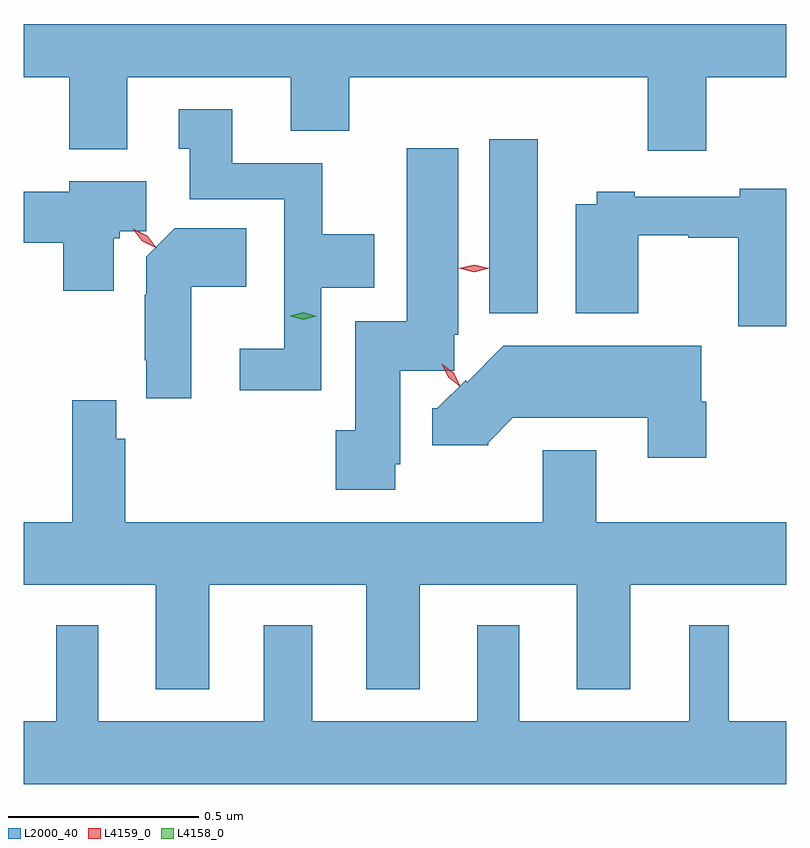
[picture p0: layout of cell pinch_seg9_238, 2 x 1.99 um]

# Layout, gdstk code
import gdstk
lib = gdstk.Library(unit=1e-6, precision=1e-09)
def R(c, l, rs):  # rectangles x0, y0, x1, y1
    for r in rs: c.add(gdstk.rectangle(r[:2], r[2:], *l))
def P(c, l, *ps):  # polygons
    for p in ps: c.add(gdstk.Polygon(p, *l))
L2000_40 = (2000, 40)
L4158_0 = (4158, 0)
L4159_0 = (4159, 0)

pinch_seg9_238 = lib.new_cell('pinch_seg9_238')
R(pinch_seg9_238, L2000_40, [(409.335,1245.084,409.462,1245.541)])
P(pinch_seg9_238, L2000_40, [(409.904,1245.704),(410.114,1245.704),(410.114,1245.843),(408.114,1245.843),(408.114,1245.704),(408.233,1245.704),(408.233,1245.515),(408.385,1245.515),(408.385,1245.704),(408.815,1245.704),(408.815,1245.563),(408.968,1245.563),(408.968,1245.704),(409.751,1245.704),(409.751,1245.51),(409.904,1245.51)],
  [(408.894,1245.152),(409.033,1245.152),(409.033,1245.292),(408.897,1245.292),(408.897,1245.478),(408.661,1245.478),(408.661,1245.619),(408.521,1245.619),(408.521,1245.516),(408.549,1245.516),(408.549,1245.384),(408.798,1245.384),(408.798,1244.992),(408.681,1244.992),(408.681,1244.883),(408.894,1244.883)],
  [(409.089,1244.688),(409.101,1244.688),(409.101,1244.934),(409.243,1244.934),(409.243,1245.028),(409.254,1245.028),(409.254,1245.517),(409.118,1245.517),(409.118,1245.064),(408.983,1245.064),(408.983,1244.778),(408.932,1244.778),(408.932,1244.622),(409.089,1244.622)],
  [(408.35,1245.281),(408.366,1245.281),(408.366,1245.3),(408.435,1245.3),(408.435,1245.43),(408.234,1245.43),(408.234,1245.403),(408.114,1245.403),(408.114,1245.269),(408.218,1245.269),(408.218,1245.144),(408.35,1245.144)],
  [(410.114,1245.411),(409.992,1245.411),(409.992,1245.39),(409.717,1245.39),(409.717,1245.403),(409.617,1245.403),(409.617,1245.37),(409.562,1245.37),(409.562,1245.084),(409.726,1245.084),(409.726,1245.289),(409.857,1245.289),(409.857,1245.282),(409.988,1245.282),(409.988,1245.051),(410.114,1245.051)],
  [(408.554,1245.154),(408.698,1245.154),(408.698,1245.307),(408.51,1245.307),(408.435,1245.232),(408.435,1245.133),(408.432,1245.133),(408.432,1244.961),(408.436,1244.961),(408.436,1244.861),(408.554,1244.861)],
  [(409.904,1244.853),(409.891,1244.853),(409.891,1244.999),(409.371,1244.999),(409.277,1244.904),(409.273,1244.909),(409.199,1244.835),(409.186,1244.835),(409.186,1244.738),(409.332,1244.738),(409.332,1244.745),(409.397,1244.81),(409.751,1244.81),(409.751,1244.706),(409.904,1244.706)],
  [(408.601,1244.372),(409.013,1244.372),(409.013,1244.099),(409.153,1244.099),(409.153,1244.372),(409.565,1244.372),(409.565,1244.099),(409.705,1244.099),(409.705,1244.372),(410.114,1244.372),(410.114,1244.536),(409.615,1244.536),(409.615,1244.725),(409.475,1244.725),(409.475,1244.536),(408.38,1244.536),(408.38,1244.756),(408.357,1244.756),(408.357,1244.856),(408.242,1244.856),(408.242,1244.536),(408.114,1244.536),(408.114,1244.372),(408.461,1244.372),(408.461,1244.099),(408.601,1244.099)],
  [(410.114,1244.014),(409.963,1244.014),(409.963,1244.266),(409.859,1244.266),(409.859,1244.014),(409.414,1244.014),(409.414,1244.266),(409.304,1244.266),(409.304,1244.014),(408.871,1244.014),(408.871,1244.266),(408.743,1244.266),(408.743,1244.014),(408.31,1244.014),(408.31,1244.266),(408.2,1244.266),(408.2,1244.014),(408.114,1244.014),(408.114,1243.85),(410.114,1243.85)])
P(pinch_seg9_238, L4158_0, [(408.847,1245.067),(408.813,1245.077),(408.813,1245.077),(408.813,1245.078),(408.847,1245.087),(408.882,1245.077),(408.882,1245.077),(408.882,1245.076)])
P(pinch_seg9_238, L4159_0, [(409.295,1245.192),(409.255,1245.202),(409.255,1245.202),(409.255,1245.202),(409.295,1245.212),(409.335,1245.202),(409.335,1245.202),(409.335,1245.202)],
  [(409.258,1244.893),(409.227,1244.916),(409.211,1244.952),(409.211,1244.952),(409.211,1244.952),(409.242,1244.929),(409.259,1244.893),(409.259,1244.893)],
  [(408.463,1245.255),(408.425,1245.273),(408.4,1245.306),(408.4,1245.306),(408.401,1245.306),(408.438,1245.288),(408.463,1245.255),(408.463,1245.255)])

lib.write_gds('pinch_seg9_238.gds')
